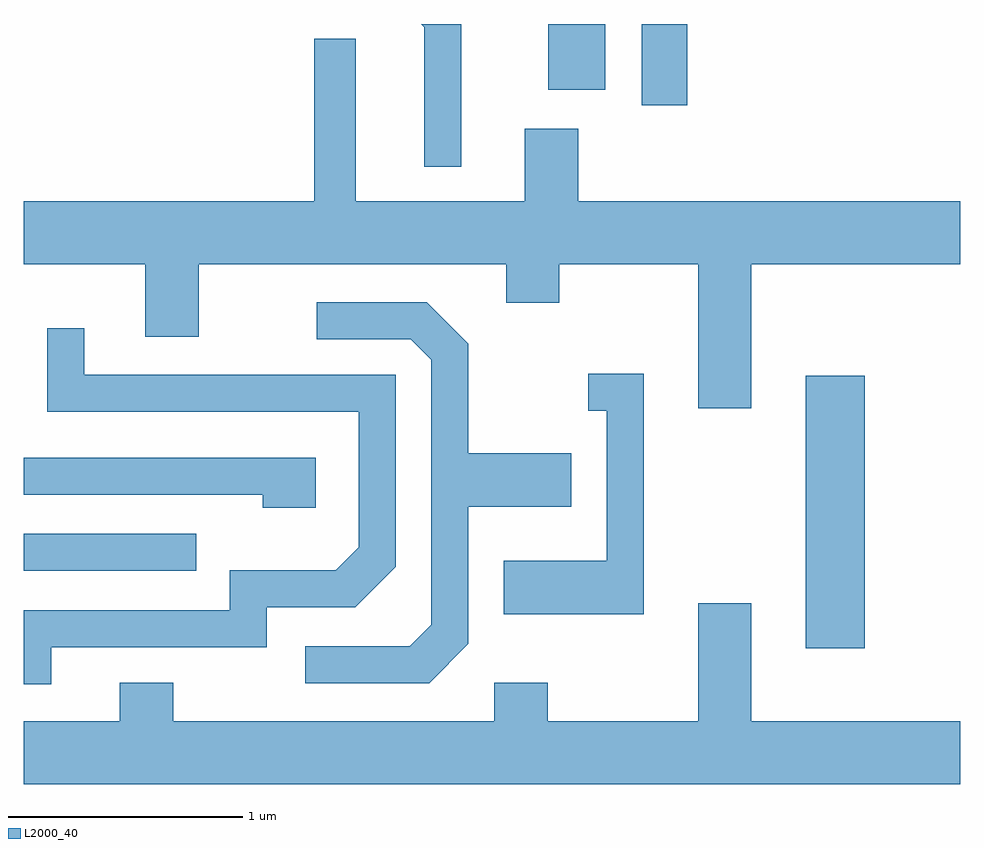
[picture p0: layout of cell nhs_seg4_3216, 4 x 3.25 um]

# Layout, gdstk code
import gdstk
lib = gdstk.Library(unit=1e-6, precision=1e-09)
def R(c, l, rs):  # rectangles x0, y0, x1, y1
    for r in rs: c.add(gdstk.rectangle(r[:2], r[2:], *l))
def P(c, l, *ps):  # polygons
    for p in ps: c.add(gdstk.Polygon(p, *l))
L2000_40 = (2000, 40)

nhs_seg4_3216 = lib.new_cell('nhs_seg4_3216')
R(nhs_seg4_3216, L2000_40, [(282.951,1295.316,283.204,1296.479), (279.611,1295.646,280.348,1295.804), (282.251,1297.636,282.444,1297.982), (281.851,1297.701,282.094,1297.982)])
P(nhs_seg4_3216, L2000_40, [(281.479,1297.982),(281.308,1297.982),(281.321,1297.969),(281.321,1297.373),(281.479,1297.373)],
  [(282.719,1296.956),(283.611,1296.956),(283.611,1297.224),(281.979,1297.224),(281.979,1297.534),(281.751,1297.534),(281.751,1297.224),(281.029,1297.224),(281.029,1297.919),(280.851,1297.919),(280.851,1297.224),(279.611,1297.224),(279.611,1296.956),(280.131,1296.956),(280.131,1296.646),(280.359,1296.646),(280.359,1296.956),(281.671,1296.956),(281.671,1296.791),(281.899,1296.791),(281.899,1296.956),(282.491,1296.956),(282.491,1296.341),(282.719,1296.341)],
  [(281.509,1295.334),(281.509,1295.921),(281.949,1295.921),(281.949,1296.149),(281.509,1296.149),(281.509,1296.617),(281.332,1296.794),(280.863,1296.794),(280.863,1296.636),(281.264,1296.636),(281.351,1296.549),(281.351,1295.417),(281.259,1295.324),(280.813,1295.324),(280.813,1295.166),(281.342,1295.166)],
  [(279.729,1295.321),(280.649,1295.321),(280.649,1295.491),(281.027,1295.491),(281.199,1295.664),(281.199,1296.484),(279.869,1296.484),(279.869,1296.683),(279.711,1296.683),(279.711,1296.326),(281.041,1296.326),(281.041,1295.747),(280.944,1295.649),(280.491,1295.649),(280.491,1295.479),(279.611,1295.479),(279.611,1295.161),(279.729,1295.161)],
  [(282.259,1296.489),(282.023,1296.489),(282.023,1296.331),(282.101,1296.331),(282.101,1295.689),(281.661,1295.689),(281.661,1295.461),(282.259,1295.461)],
  [(280.859,1296.129),(279.611,1296.129),(279.611,1295.971),(280.631,1295.971),(280.631,1295.916),(280.859,1295.916)],
  [(283.611,1295.004),(282.719,1295.004),(282.719,1295.509),(282.491,1295.509),(282.491,1295.004),(281.849,1295.004),(281.849,1295.169),(281.621,1295.169),(281.621,1295.004),(280.249,1295.004),(280.249,1295.169),(280.021,1295.169),(280.021,1295.004),(279.611,1295.004),(279.611,1294.736),(283.611,1294.736)])

lib.write_gds('nhs_seg4_3216.gds')
